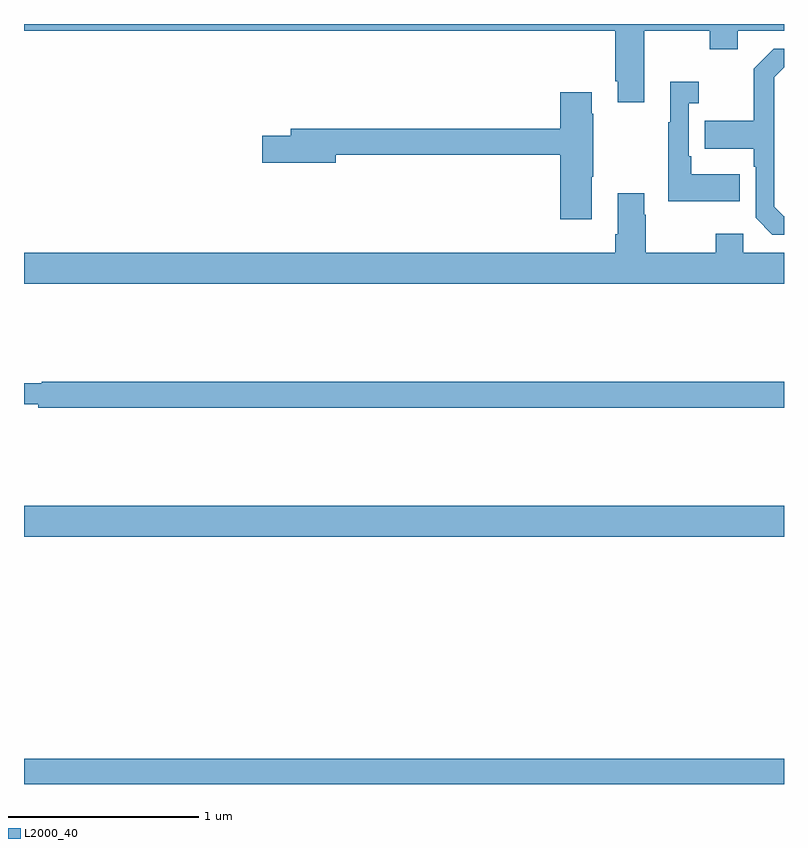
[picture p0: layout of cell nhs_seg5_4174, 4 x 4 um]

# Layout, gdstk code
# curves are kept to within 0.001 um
import gdstk
lib = gdstk.Library(unit=1e-6, precision=1e-09)
def R(c, l, rs):  # rectangles x0, y0, x1, y1
    for r in rs: c.add(gdstk.rectangle(r[:2], r[2:], *l))
def P(c, l, *ps):  # polygons
    for p in ps: c.add(gdstk.Polygon(p, *l))
L2000_40 = (2000, 40)

nhs_seg5_4174 = lib.new_cell('nhs_seg5_4174')
R(nhs_seg5_4174, L2000_40, [(357,848.799,361,848.932), (357,850.1,361,850.264)])
P(nhs_seg5_4174, L2000_40, [(360.265,852.764),(360.61,852.764),(360.61,852.665),(360.757,852.665),(360.757,852.764),(361,852.764),(361,852.799),(357,852.799),(357,852.764),(360.113,852.764),(360.113,852.499),(360.125,852.499),(360.125,852.387),(360.265,852.387)],
  [(361,851.787),(360.948,851.838),(360.948,852.519),(361,852.571),(361,852.669),(360.945,852.669),(360.84,852.563),(360.84,852.291),(360.583,852.291),(360.583,852.143),(360.84,852.143),(360.84,852.047),(360.852,852.047),(360.852,851.778),(360.939,851.691),(361,851.691)],
  [(360.767,852.007),(360.511,852.007),(360.511,852.103),(360.498,852.103),(360.498,852.383),(360.55,852.383),(360.55,852.496),(360.401,852.496),(360.401,852.283),(360.39,852.283),(360.39,851.867),(360.767,851.867)],
  [(359.989,851.995),(359.997,851.995),(359.997,852.326),(359.989,852.326),(359.989,852.439),(359.822,852.439),(359.822,852.248),(358.403,852.248),(358.403,852.212),(358.254,852.212),(358.254,852.07),(358.642,852.07),(358.642,852.112),(359.822,852.112),(359.822,851.772),(359.989,851.772)],
  [(361,851.596),(360.786,851.596),(360.786,851.695),(360.64,851.695),(360.64,851.596),(360.273,851.596),(360.273,851.795),(360.265,851.795),(360.265,851.908),(360.125,851.908),(360.125,851.692),(360.113,851.692),(360.113,851.596),(357,851.596),(357,851.432),(361,851.432)],
  [(361,850.916),(357.094,850.916),(357.094,850.909),(357,850.909),(357,850.799),(357.076,850.799),(357.076,850.78),(361,850.78)])

lib.write_gds('nhs_seg5_4174.gds')
